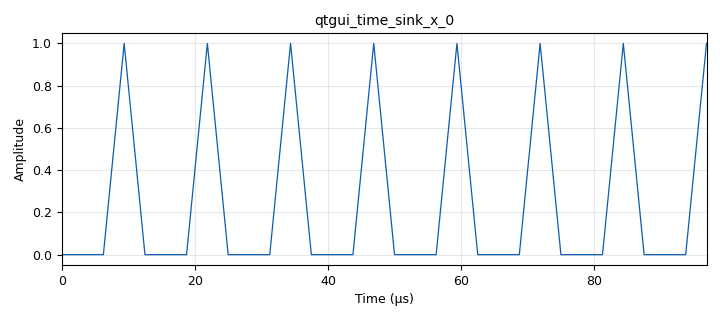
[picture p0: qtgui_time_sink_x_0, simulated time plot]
options:
  parameters:
    generate_options: qt_gui
    id: default
    output_language: python
    title: Not titled yet
  states: {}

blocks:
- name: samp_rate
  id: variable
  parameters:
    value: '320000'
  states: {}
- name: blocks_add_xx_0
  id: blocks_add_xx
  parameters:
    type: float
  states: {}
- name: blocks_float_to_uchar_0
  id: blocks_float_to_uchar
  parameters: {}
  states: {}
- name: blocks_throttle_0
  id: blocks_throttle
  parameters:
    samples_per_second: samp_rate
    type: byte
  states: {}
- name: blocks_uchar_to_float_0
  id: blocks_uchar_to_float
  parameters: {}
  states: {}
- name: blocks_uchar_to_float_0_0
  id: blocks_uchar_to_float
  parameters: {}
  states: {}
- name: blocks_uchar_to_float_0_1
  id: blocks_uchar_to_float
  parameters: {}
  states: {}
- name: blocks_vector_source_x_0_0
  id: blocks_vector_source_x
  parameters:
    repeat: 'True'
    type: byte
    vector: (0, 0,0,0)
  states: {}
- name: blocks_vector_source_x_0_0_0
  id: blocks_vector_source_x
  parameters:
    repeat: 'True'
    type: byte
    vector: (0, 0,0,1)
  states: {}
- name: qtgui_time_sink_x_0
  id: qtgui_time_sink_x
  parameters:
    autoscale: 'True'
    size: '32'
    srate: samp_rate
    type: float
  states: {}

connections:
- [blocks_add_xx_0, '0', blocks_float_to_uchar_0, '0']
- [blocks_float_to_uchar_0, '0', blocks_throttle_0, '0']
- [blocks_throttle_0, '0', blocks_uchar_to_float_0, '0']
- [blocks_uchar_to_float_0, '0', qtgui_time_sink_x_0, '0']
- [blocks_uchar_to_float_0_0, '0', blocks_add_xx_0, '0']
- [blocks_uchar_to_float_0_1, '0', blocks_add_xx_0, '1']
- [blocks_vector_source_x_0_0, '0', blocks_uchar_to_float_0_1, '0']
- [blocks_vector_source_x_0_0_0, '0', blocks_uchar_to_float_0_0, '0']

metadata:
  file_format: 1
